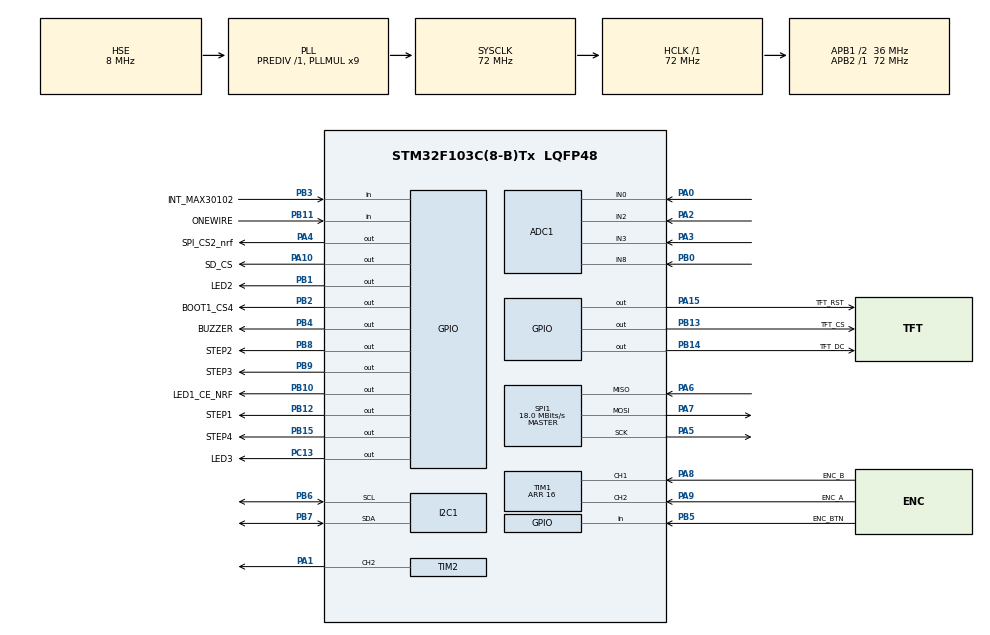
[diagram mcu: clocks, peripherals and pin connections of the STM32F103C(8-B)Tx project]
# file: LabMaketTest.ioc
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ADC1.Channel-0\#ChannelRegularConversion=ADC_CHANNEL_0
ADC1.NbrOfConversionFlag=1
ADC1.Rank-0\#ChannelRegularConversion=1
ADC1.SamplingTime-0\#ChannelRegularConversion=ADC_SAMPLETIME_1CYCLE_5
ADC1.master=1
Dma.Request0=SPI1_TX
Dma.SPI1_TX.0.Direction=DMA_MEMORY_TO_PERIPH
Dma.SPI1_TX.0.Instance=DMA1_Channel3
Dma.SPI1_TX.0.MemDataAlignment=DMA_MDATAALIGN_BYTE
Dma.SPI1_TX.0.MemInc=DMA_MINC_ENABLE
Dma.SPI1_TX.0.Mode=DMA_NORMAL
Dma.SPI1_TX.0.PeriphDataAlignment=DMA_PDATAALIGN_BYTE
Dma.SPI1_TX.0.PeriphInc=DMA_PINC_DISABLE
Dma.SPI1_TX.0.Priority=DMA_PRIORITY_LOW
FATFS._MAX_SS=4096
I2C1.I2C_Mode=I2C_Fast
Mcu.Family=STM32F1
Mcu.Name=STM32F103C(8-B)Tx
Mcu.Package=LQFP48
NVIC.DMA1_Channel3_IRQn=true\:0\:0\:false\:false\:true\:false\:true\:true
NVIC.PriorityGroup=NVIC_PRIORITYGROUP_4
PA0-WKUP.Signal=ADCx_IN0
PA1.Signal=S_TIM2_CH2
PA10.GPIO_Label=SD_CS
PA10.GPIO_PuPd=GPIO_PULLUP
PA10.GPIO_Speed=GPIO_SPEED_FREQ_HIGH
PA10.PinState=GPIO_PIN_SET
PA10.Signal=GPIO_Output
PA13.Mode=Serial_Wire
PA13.Signal=SYS_JTMS-SWDIO
PA14.Mode=Serial_Wire
PA14.Signal=SYS_JTCK-SWCLK
PA15.GPIO_Label=TFT_RST
PA15.Signal=GPIO_Output
PA2.Signal=ADCx_IN2
PA3.Signal=ADCx_IN3
PA4.GPIO_Label=SPI_CS2_nrf
PA4.GPIO_ModeDefaultOutputPP=GPIO_MODE_OUTPUT_PP
PA4.GPIO_PuPd=GPIO_PULLUP
PA4.GPIO_Speed=GPIO_SPEED_FREQ_HIGH
PA4.PinState=GPIO_PIN_SET
PA4.Signal=GPIO_Output
PA5.Mode=Full_Duplex_Master
PA5.Signal=SPI1_SCK
PA6.GPIO_PuPd=GPIO_NOPULL
PA6.Mode=Full_Duplex_Master
PA6.Signal=SPI1_MISO
PA7.Mode=Full_Duplex_Master
PA7.Signal=SPI1_MOSI
PA8.GPIO_Label=ENC_B
PA8.Signal=S_TIM1_CH1
PA9.GPIO_Label=ENC_A
PA9.Signal=S_TIM1_CH2
PB0.Signal=ADCx_IN8
PB1.GPIO_Label=LED2
PB1.Signal=GPIO_Output
PB10.GPIO_Label=LED1_CE_NRF
PB10.GPIO_Speed=GPIO_SPEED_FREQ_HIGH
PB10.Signal=GPIO_Output
PB11.GPIO_Label=ONEWIRE
PB11.Signal=GPIO_Input
PB12.GPIO_Label=STEP1
PB12.PinState=GPIO_PIN_RESET
PB12.Signal=GPIO_Output
PB13.GPIO_Label=TFT_CS
PB13.GPIO_Speed=GPIO_SPEED_FREQ_HIGH
PB13.PinState=GPIO_PIN_SET
PB13.Signal=GPIO_Output
PB14.GPIO_Label=TFT_DC
PB14.GPIO_Speed=GPIO_SPEED_FREQ_HIGH
PB14.PinState=GPIO_PIN_SET
PB14.Signal=GPIO_Output
PB15.GPIO_Label=STEP4
PB15.Signal=GPIO_Output
PB2.GPIO_Label=BOOT1_CS4
PB2.GPIO_Speed=GPIO_SPEED_FREQ_HIGH
PB2.PinState=GPIO_PIN_SET
PB2.Signal=GPIO_Output
PB3.GPIO_Label=INT_MAX30102
PB3.GPIO_PuPd=GPIO_PULLUP
PB3.Signal=GPIO_Input
PB4.GPIO_Label=BUZZER
PB4.Signal=GPIO_Output
PB5.GPIO_Label=ENC_BTN
PB5.GPIO_PuPd=GPIO_PULLUP
PB5.Signal=GPIO_Input
PB6.Mode=I2C
PB6.Signal=I2C1_SCL
PB7.Mode=I2C
PB7.Signal=I2C1_SDA
PB8.GPIO_Label=STEP2
PB8.Signal=GPIO_Output
PB9.GPIO_Label=STEP3
PB9.Signal=GPIO_Output
PC13-TAMPER-RTC.GPIO_Label=LED3
PC13-TAMPER-RTC.PinState=GPIO_PIN_SET
PC13-TAMPER-RTC.Signal=GPIO_Output
PC14-OSC32_IN.Mode=LSE-External-Oscillator
PC14-OSC32_IN.Signal=RCC_OSC32_IN
PC15-OSC32_OUT.Mode=LSE-External-Oscillator
PC15-OSC32_OUT.Signal=RCC_OSC32_OUT
PD0-OSC_IN.Mode=HSE-External-Oscillator
PD0-OSC_IN.Signal=RCC_OSC_IN
PD1-OSC_OUT.Mode=HSE-External-Oscillator
PD1-OSC_OUT.Signal=RCC_OSC_OUT
ProjectManager.HeapSize=0x200
ProjectManager.StackSize=0x400
ProjectManager.TargetToolchain=STM32CubeIDE
RCC.ADCPresc=RCC_ADCPCLK2_DIV6
RCC.AHBFreq_Value=72000000
RCC.APB1CLKDivider=RCC_HCLK_DIV2
RCC.APB1Freq_Value=36000000
RCC.APB1TimFreq_Value=72000000
RCC.APB2Freq_Value=72000000
RCC.APB2TimFreq_Value=72000000
RCC.HCLKFreq_Value=72000000
RCC.PLLMUL=RCC_PLL_MUL9
RCC.PLLSourceVirtual=RCC_PLLSOURCE_HSE
RCC.SYSCLKFreq_VALUE=72000000
RCC.SYSCLKSource=RCC_SYSCLKSOURCE_PLLCLK
RCC.USBFreq_Value=48000000
RCC.USBPrescaler=RCC_USBCLKSOURCE_PLL_DIV1_5
RTC.Format=RTC_FORMAT_BIN
RTC.Year=21
SH.ADCx_IN0.0=ADC1_IN0,IN0
SH.ADCx_IN2.0=ADC1_IN2,IN2
SH.ADCx_IN3.0=ADC1_IN3,IN3
SH.ADCx_IN8.0=ADC1_IN8,IN8
SH.S_TIM1_CH1.0=TIM1_CH1,Encoder_Interface
SH.S_TIM1_CH2.0=TIM1_CH2,Encoder_Interface
SH.S_TIM2_CH2.0=TIM2_CH2,PWM Generation2 CH2
SPI1.BaudRatePrescaler=SPI_BAUDRATEPRESCALER_4
SPI1.CalculateBaudRate=18.0 MBits/s
SPI1.Direction=SPI_DIRECTION_2LINES
SPI1.Mode=SPI_MODE_MASTER
SPI1.VirtualType=VM_MASTER
TIM1.IC1Filter=15
TIM1.IC1Polarity=TIM_ICPOLARITY_RISING
TIM1.IC1Prescaler=TIM_ICPSC_DIV1
TIM1.IC2Filter=15
TIM1.IC2Polarity=TIM_ICPOLARITY_RISING
TIM1.IC2Prescaler=TIM_ICPSC_DIV1
TIM1.Period=16
TIM2.Channel-PWM\ Generation2\ CH2=TIM_CHANNEL_2
TIM2.Period=100
TIM2.Prescaler=1000
TIM2.Pulse-PWM\ Generation2\ CH2=0
VP_FATFS_VS_Generic.Mode=User_defined
VP_RTC_No_RTC_Output.Mode=RTC_OUT_NO
VP_RTC_VS_RTC_Activate.Mode=RTC_Enabled
VP_RTC_VS_RTC_Calendar.Mode=RTC_Calendar
board=custom

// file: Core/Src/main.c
/* USER CODE BEGIN Header */
/**
  ******************************************************************************
  * @file           : main.c
  * @brief          : Main program body
  ******************************************************************************
  * @attention
  *
  * <h2><center>&copy; Copyright (c) 2021 STMicroelectronics.
  * All rights reserved.</center></h2>
  *
  * This software component is licensed by ST under BSD 3-Clause license,
  * the "License"; You may not use this file except in compliance with the
  * License. You may obtain a copy of the License at:
  *                        opensource.org/licenses/BSD-3-Clause
  *
  ******************************************************************************
  */
/* USER CODE END Header */
#include "main.h"
#include "fatfs.h"

/* USER CODE BEGIN Includes */
#include "testimg.h"

/* USER CODE END Includes */

ADC_HandleTypeDef hadc1;

I2C_HandleTypeDef hi2c1;

RTC_HandleTypeDef hrtc;

SPI_HandleTypeDef hspi1;
DMA_HandleTypeDef hdma_spi1_tx;

TIM_HandleTypeDef htim1;
TIM_HandleTypeDef htim2;

/* USER CODE BEGIN PV */
RTC_TimeTypeDef RtcTime;
RTC_DateTypeDef RtcDate;

uint8_t r = 0;
char buf[64];
int EncVal=0;
const char *menu_main_text[NUM_MENU_MAIN]={"0.Test TFT st7735",
										   "1.Test analog sensor",
										   "2.Test key & leds",
										   "3.Test RTC stm32",
										   "4.Test ds18b20",
										   "5.Test I2C bus >>",
										   "6.Test motor&ACS70331",
										   "7.Test SD card",
										   "8.Test nrf24l01",
										   "9.Test SPI flash",
										   "a.Test fake stm chip"};

uint8_t menu_main = 0;
uint8_t menu_i2c = 0;
mMenu myMenu;   // текущее мению
/* USER CODE END PV */

void SystemClock_Config(void);
static void MX_GPIO_Init(void);
static void MX_DMA_Init(void);
static void MX_SPI1_Init(void);
static void MX_ADC1_Init(void);
static void MX_RTC_Init(void);
static void MX_TIM1_Init(void);
static void MX_TIM2_Init(void);
static void MX_I2C1_Init(void);
/* USER CODE BEGIN PFP */
extern void start_screen(void);
extern void beep(uint16_t t);
extern void beep_enc(void);
extern void menu_i2c_screen(void);
extern void test_TFT(void);
extern void test_ADC(void);
extern void test_keyADC_LEDS(void);
extern void test_RTC(void);
extern void test_ds18b20(void);
extern void scan_i2c(void);
extern void test_VL53L0x(void);
extern void test_max30102(void);
extern void test_hmc5883l(void);
extern void test_SD(void);
extern void test_nrf24(void);
extern void test_SPI_flash(void);
void test_Stepper(void);
/* USER CODE END PFP */

/* USER CODE BEGIN 0 */
uint32_t CalculateDayNumber(uint8_t Date, uint8_t Month, uint8_t Year)
{
	// Format:
	// DD.MM.YY
	uint32_t _Year = Year + 20;
	Month = (Month + 9) % 12;
	_Year = _Year - (Month / 10);
	return ((365 * _Year) + (_Year / 4) - (_Year / 100) + (_Year / 400) + (((Month * 306) + 5) / 10) + (Date - 1));
}

void CalculateDateFromDayNumber(uint32_t DayNumber, uint8_t *Date, uint8_t *Month, uint8_t *Year)
{
	uint32_t _Date, _Month, _Year;
	_Year = ((10000 * DayNumber) + 14780) / 3652425;
	int32_t ddd = DayNumber - ((365 * _Year) + (_Year / 4) - (_Year / 100) + (_Year / 400));
	if (ddd < 0)
	{
		_Year -= 1;
		ddd = DayNumber - ((365 * _Year) + (_Year / 4) - (_Year / 100) + (_Year / 400));
	}
	int32_t mi = ((100 * ddd) + 52) / 3060;
	_Month = (mi + 2) % 12 + 1;
	_Year = _Year + (mi + 2)/12;
	_Date = ddd - ((mi * 306) + 5)/10 + 1;
	*Date = _Date;
	*Month = _Month;
	*Year = _Year - 20;
}
/* USER CODE END 0 */

int main(void)
{
  /* USER CODE BEGIN 1 */
uint8_t old_menu = menu_main;  // Старая позиция меню
  /* USER CODE END 1 */

  /* MCU Configuration--------------------------------------------------------*/

  /* Reset of all peripherals, Initializes the Flash interface and the Systick. */
  HAL_Init();

  /* Configure the system clock */
  SystemClock_Config();

  /* Initialize all configured peripherals */
  MX_GPIO_Init();
  MX_DMA_Init();
  MX_SPI1_Init();
  MX_ADC1_Init();
  MX_RTC_Init();
  MX_FATFS_Init();
  MX_TIM1_Init();
  MX_TIM2_Init();
  MX_I2C1_Init();
  /* USER CODE BEGIN 2 */

  ST7735_Init();          // Не забываем в кубе настроить DMA
 // ST7735_Backlight_On(); // Включить подсветку дисплея
  ST7735_SetRotation(3);
  ST7735_FillScreen(ST7735_WHITE);
  ST7735_DrawImage(0, 10, 160, 58, (const uint16_t*) stm32logo); // вывести заставку
  ST7735_DrawString(0, 108, "Hardware version:", Font_7x10, ST7735_RED, ST7735_WHITE);
  ST7735_DrawString(130, 108, HARDWARE, Font_7x10, ST7735_RED, ST7735_WHITE);

  ST7735_DrawString(0, 118, "Test prog version:", Font_7x10, ST7735_RED, ST7735_WHITE);
  ST7735_DrawString(130, 118, VERSION, Font_7x10, ST7735_RED, ST7735_WHITE);
  beep(200);
  HAL_TIM_PWM_Start(&htim2, TIM_CHANNEL_2); // Включить ШИМ на подсветку дисплея
  for (uint8_t i=0;i<100;i++){
	  ST7735_Backlight(i);                  // Установить ярокость
	  HAL_Delay(20);
  }
// test_VL53L0x();
// test_at24c128();
  HAL_ADCEx_Calibration_Start(&hadc1);  // Калибровка ацп
  /* USER CODE END 2 */

  /* Infinite loop */
  /* USER CODE BEGIN WHILE */
 // HAL_GPIO_WritePin(GPIOB, LED2_Pin, GPIO_PIN_SET);    // Установить светодиод 2 в 1
  HAL_GPIO_WritePin(LED1_CE_NRF_GPIO_Port, LED1_CE_NRF_Pin, GPIO_PIN_RESET);    // Установить светодиод 1 в 0
 // HAL_GPIO_WritePin(GPIOA, TFT_LED_Pin, GPIO_PIN_SET); // Включить подсветку дисплея

  start_screen();
  TIM1->ARR = (NUM_MENU_MAIN-1)*2+1; // Установить максимальное значение энкодера в ДВА раза больше чем пунктов меню (срабатываение на один щелчек энкодера)
  TIM1->CNT = 0; // нулевой пункт меню
  HAL_TIM_Encoder_Start(&htim1, TIM_CHANNEL_ALL); // Включить энкодер

  HAL_NVIC_EnableIRQ(EXTI9_5_IRQn);
 // myMenu=mMain;    // текущее меню - главное
  while (1)
  {
	  HAL_GPIO_TogglePin(LED1_CE_NRF_GPIO_Port, LED1_CE_NRF_Pin); // Инвертирование состояния выхода.
	  HAL_Delay(50);                       // Пауза 50 миллисекунд.

	 menu_main = __HAL_TIM_GET_COUNTER(&htim1)/2;  // Прочитать значение энкодера

     if(old_menu!=menu_main) // Надо перерисовать пункт меню
     {
 //	  itoa(menu_main+1,buf,16);
 //	  ST7735_DrawString(150, 1, buf, Font_7x10, ST7735_RED, ST7735_BLUE); // текущий атом меню
    	// Старое меню восстанавливаем
   	  ST7735_FillRectangle(0, 2+(old_menu+1)*STR_H, 160-1,STR_H, ST7735_BLACK);
      ST7735_DrawString(0, 2+(old_menu+1)*STR_H,menu_main_text[old_menu], Font_7x10, ST7735_WHITE, ST7735_BLACK);
    	// Новое рисуем
   	  ST7735_FillRectangle(0, 2+(menu_main+1)*STR_H, 160-1,STR_H, ST7735_WHITE);
      ST7735_DrawString(0, 2+(menu_main+1)*STR_H,menu_main_text[menu_main], Font_7x10, ST7735_BLUE, ST7735_WHITE);
      old_menu=menu_main;
      beep_enc();
     }
     // Нажата кнопка
     if (HAL_GPIO_ReadPin(GPIOB, ENC_BTN_Pin) == 1) {
    	 beep_enc();
    	 switch (menu_main){
    		case 0: test_TFT();start_screen(); break;
    		case 1: test_ADC();start_screen(); break;
    		case 2: test_keyADC_LEDS();start_screen(); break;
      		case 3: test_RTC();start_screen(); break;
      		case 4: test_ds18b20();start_screen(); break;
      		case 5: menu_i2c_screen();TIM1->CNT=5*2; start_screen(); break; // Подменю, с возвратом на ту же позицию
      		case 6: test_Stepper();start_screen(); break;
    		case 7: test_SD();start_screen(); break;
    		case 8: test_nrf24();start_screen(); break;
    		case 9: test_SPI_flash();start_screen(); break;
    		case 10: test_fake_stm32();start_screen(); break;
      		default: break;

    	}
     }

    /* USER CODE END WHILE */

  }
}

void SystemClock_Config(void)
{
  RCC_OscInitTypeDef RCC_OscInitStruct = {0};
  RCC_ClkInitTypeDef RCC_ClkInitStruct = {0};
  RCC_PeriphCLKInitTypeDef PeriphClkInit = {0};

  /** Initializes the RCC Oscillators according to the specified parameters
  * in the RCC_OscInitTypeDef structure.
  */
  RCC_OscInitStruct.OscillatorType = RCC_OSCILLATORTYPE_LSI|RCC_OSCILLATORTYPE_HSE;
  RCC_OscInitStruct.HSEState = RCC_HSE_ON;
  RCC_OscInitStruct.HSEPredivValue = RCC_HSE_PREDIV_DIV1;
  RCC_OscInitStruct.HSIState = RCC_HSI_ON;
  RCC_OscInitStruct.LSIState = RCC_LSI_ON;
  RCC_OscInitStruct.PLL.PLLState = RCC_PLL_ON;
  RCC_OscInitStruct.PLL.PLLSource = RCC_PLLSOURCE_HSE;
  RCC_OscInitStruct.PLL.PLLMUL = RCC_PLL_MUL9;
  if (HAL_RCC_OscConfig(&RCC_OscInitStruct) != HAL_OK)
  {
    Error_Handler();
  }
  /** Initializes the CPU, AHB and APB buses clocks
  */
  RCC_ClkInitStruct.ClockType = RCC_CLOCKTYPE_HCLK|RCC_CLOCKTYPE_SYSCLK
                              |RCC_CLOCKTYPE_PCLK1|RCC_CLOCKTYPE_PCLK2;
  RCC_ClkInitStruct.SYSCLKSource = RCC_SYSCLKSOURCE_PLLCLK;
  RCC_ClkInitStruct.AHBCLKDivider = RCC_SYSCLK_DIV1;
  RCC_ClkInitStruct.APB1CLKDivider = RCC_HCLK_DIV2;
  RCC_ClkInitStruct.APB2CLKDivider = RCC_HCLK_DIV1;

  if (HAL_RCC_ClockConfig(&RCC_ClkInitStruct, FLASH_LATENCY_2) != HAL_OK)
  {
    Error_Handler();
  }
  PeriphClkInit.PeriphClockSelection = RCC_PERIPHCLK_RTC|RCC_PERIPHCLK_ADC;
  PeriphClkInit.RTCClockSelection = RCC_RTCCLKSOURCE_LSI;
  PeriphClkInit.AdcClockSelection = RCC_ADCPCLK2_DIV6;
  if (HAL_RCCEx_PeriphCLKConfig(&PeriphClkInit) != HAL_OK)
  {
    Error_Handler();
  }
}

static void MX_ADC1_Init(void)
{

  ADC_ChannelConfTypeDef sConfig = {0};

  /** Common config
  */
  hadc1.Instance = ADC1;
  hadc1.Init.ScanConvMode = ADC_SCAN_DISABLE;
  hadc1.Init.ContinuousConvMode = DISABLE;
  hadc1.Init.DiscontinuousConvMode = DISABLE;
  hadc1.Init.ExternalTrigConv = ADC_SOFTWARE_START;
  hadc1.Init.DataAlign = ADC_DATAALIGN_RIGHT;
  hadc1.Init.NbrOfConversion = 1;
  if (HAL_ADC_Init(&hadc1) != HAL_OK)
  {
    Error_Handler();
  }
  /** Configure Regular Channel
  */
  sConfig.Channel = ADC_CHANNEL_0;
  sConfig.Rank = ADC_REGULAR_RANK_1;
  sConfig.SamplingTime = ADC_SAMPLETIME_1CYCLE_5;
  if (HAL_ADC_ConfigChannel(&hadc1, &sConfig) != HAL_OK)
  {
    Error_Handler();
  }

}

static void MX_I2C1_Init(void)
{

  hi2c1.Instance = I2C1;
  hi2c1.Init.ClockSpeed = 400000;
  hi2c1.Init.DutyCycle = I2C_DUTYCYCLE_2;
  hi2c1.Init.OwnAddress1 = 0;
  hi2c1.Init.AddressingMode = I2C_ADDRESSINGMODE_7BIT;
  hi2c1.Init.DualAddressMode = I2C_DUALADDRESS_DISABLE;
  hi2c1.Init.OwnAddress2 = 0;
  hi2c1.Init.GeneralCallMode = I2C_GENERALCALL_DISABLE;
  hi2c1.Init.NoStretchMode = I2C_NOSTRETCH_DISABLE;
  if (HAL_I2C_Init(&hi2c1) != HAL_OK)
  {
    Error_Handler();
  }

}

static void MX_RTC_Init(void)
{

  RTC_TimeTypeDef sTime = {0};
  RTC_DateTypeDef DateToUpdate = {0};

  /** Initialize RTC Only
  */
  hrtc.Instance = RTC;
  hrtc.Init.AsynchPrediv = RTC_AUTO_1_SECOND;
  hrtc.Init.OutPut = RTC_OUTPUTSOURCE_NONE;
  if (HAL_RTC_Init(&hrtc) != HAL_OK)
  {
    Error_Handler();
  }

  /* USER CODE BEGIN Check_RTC_BKUP */
   RTC_DateTypeDef BackupDate;

     HAL_PWR_EnableBkUpAccess();
      /* Enable BKP CLK enable for backup registers */
      __HAL_RCC_BKP_CLK_ENABLE();
      /* RTC clock enable */
      __HAL_RCC_RTC_ENABLE();

   RtcDate.Date = (HAL_RTCEx_BKUPRead(&hrtc, RTC_BKP_DR2) >> 8);
   RtcDate.Month = HAL_RTCEx_BKUPRead(&hrtc, RTC_BKP_DR2);
   RtcDate.Year = (HAL_RTCEx_BKUPRead(&hrtc, RTC_BKP_DR3) >> 8);
   RtcDate.WeekDay = HAL_RTCEx_BKUPRead(&hrtc, RTC_BKP_DR3);

   HAL_RTC_GetTime(&hrtc, &RtcTime, RTC_FORMAT_BIN); // There is also an internal date update based on HW RTC time elapsed!!
   HAL_RTC_GetDate(&hrtc, &BackupDate, RTC_FORMAT_BIN); // Days elapsed since MCU power down

   uint32_t BackupDateDays = CalculateDayNumber(BackupDate.Date, BackupDate.Month, BackupDate.Year);
   uint32_t RtcDateDays = CalculateDayNumber(RtcDate.Date, RtcDate.Month, RtcDate.Year);

   RtcDateDays += (BackupDateDays - CalculateDayNumber(1, 1, 0));

   CalculateDateFromDayNumber(RtcDateDays, &RtcDate.Date, &RtcDate.Month, &RtcDate.Year);

   HAL_RTC_SetDate(&hrtc, &RtcDate, RTC_FORMAT_BIN);

   //
   //	You have to do not let Init code to reinitialize Time and Date in RTC.
   //	It's "a bug" in HAL widely described and complain on forums.
   //	That causes every MCU restart the time and date will be same as you configured in CubeMX.
   //	All you have to do is just return before init time/date in this user section.
   //

   return;  // Для того что бы дата кажды раз не выставлялась
  /* USER CODE END Check_RTC_BKUP */

  /** Initialize RTC and set the Time and Date
  */
  sTime.Hours = 0;
  sTime.Minutes = 0;
  sTime.Seconds = 0;

  if (HAL_RTC_SetTime(&hrtc, &sTime, RTC_FORMAT_BIN) != HAL_OK)
  {
    Error_Handler();
  }
  DateToUpdate.WeekDay = RTC_WEEKDAY_MONDAY;
  DateToUpdate.Month = RTC_MONTH_JANUARY;
  DateToUpdate.Date = 1;
  DateToUpdate.Year = 21;

  if (HAL_RTC_SetDate(&hrtc, &DateToUpdate, RTC_FORMAT_BIN) != HAL_OK)
  {
    Error_Handler();
  }

}

static void MX_SPI1_Init(void)
{

  /* SPI1 parameter configuration*/
  hspi1.Instance = SPI1;
  hspi1.Init.Mode = SPI_MODE_MASTER;
  hspi1.Init.Direction = SPI_DIRECTION_2LINES;
  hspi1.Init.DataSize = SPI_DATASIZE_8BIT;
  hspi1.Init.CLKPolarity = SPI_POLARITY_LOW;
  hspi1.Init.CLKPhase = SPI_PHASE_1EDGE;
  hspi1.Init.NSS = SPI_NSS_SOFT;
  hspi1.Init.BaudRatePrescaler = SPI_BAUDRATEPRESCALER_4;
  hspi1.Init.FirstBit = SPI_FIRSTBIT_MSB;
  hspi1.Init.TIMode = SPI_TIMODE_DISABLE;
  hspi1.Init.CRCCalculation = SPI_CRCCALCULATION_DISABLE;
  hspi1.Init.CRCPolynomial = 10;
  if (HAL_SPI_Init(&hspi1) != HAL_OK)
  {
    Error_Handler();
  }

}

static void MX_TIM1_Init(void)
{

  TIM_Encoder_InitTypeDef sConfig = {0};
  TIM_MasterConfigTypeDef sMasterConfig = {0};

  htim1.Instance = TIM1;
  htim1.Init.Prescaler = 0;
  htim1.Init.CounterMode = TIM_COUNTERMODE_UP;
  htim1.Init.Period = 16;
  htim1.Init.ClockDivision = TIM_CLOCKDIVISION_DIV1;
  htim1.Init.RepetitionCounter = 0;
  htim1.Init.AutoReloadPreload = TIM_AUTORELOAD_PRELOAD_DISABLE;
  sConfig.EncoderMode = TIM_ENCODERMODE_TI1;
  sConfig.IC1Polarity = TIM_ICPOLARITY_RISING;
  sConfig.IC1Selection = TIM_ICSELECTION_DIRECTTI;
  sConfig.IC1Prescaler = TIM_ICPSC_DIV1;
  sConfig.IC1Filter = 15;
  sConfig.IC2Polarity = TIM_ICPOLARITY_RISING;
  sConfig.IC2Selection = TIM_ICSELECTION_DIRECTTI;
  sConfig.IC2Prescaler = TIM_ICPSC_DIV1;
  sConfig.IC2Filter = 15;
  if (HAL_TIM_Encoder_Init(&htim1, &sConfig) != HAL_OK)
  {
    Error_Handler();
  }
  sMasterConfig.MasterOutputTrigger = TIM_TRGO_RESET;
  sMasterConfig.MasterSlaveMode = TIM_MASTERSLAVEMODE_DISABLE;
  if (HAL_TIMEx_MasterConfigSynchronization(&htim1, &sMasterConfig) != HAL_OK)
  {
    Error_Handler();
  }

}

static void MX_TIM2_Init(void)
{

  TIM_MasterConfigTypeDef sMasterConfig = {0};
  TIM_OC_InitTypeDef sConfigOC = {0};

  htim2.Instance = TIM2;
  htim2.Init.Prescaler = 1000;
  htim2.Init.CounterMode = TIM_COUNTERMODE_UP;
  htim2.Init.Period = 100;
  htim2.Init.ClockDivision = TIM_CLOCKDIVISION_DIV1;
  htim2.Init.AutoReloadPreload = TIM_AUTORELOAD_PRELOAD_DISABLE;
  if (HAL_TIM_PWM_Init(&htim2) != HAL_OK)
  {
    Error_Handler();
  }
  sMasterConfig.MasterOutputTrigger = TIM_TRGO_RESET;
  sMasterConfig.MasterSlaveMode = TIM_MASTERSLAVEMODE_DISABLE;
  if (HAL_TIMEx_MasterConfigSynchronization(&htim2, &sMasterConfig) != HAL_OK)
  {
    Error_Handler();
  }
  sConfigOC.OCMode = TIM_OCMODE_PWM1;
  sConfigOC.Pulse = 0;
  sConfigOC.OCPolarity = TIM_OCPOLARITY_HIGH;
  sConfigOC.OCFastMode = TIM_OCFAST_DISABLE;
  if (HAL_TIM_PWM_ConfigChannel(&htim2, &sConfigOC, TIM_CHANNEL_2) != HAL_OK)
  {
    Error_Handler();
  }
  HAL_TIM_MspPostInit(&htim2);

}

static void MX_DMA_Init(void)
{

  /* DMA controller clock enable */
  __HAL_RCC_DMA1_CLK_ENABLE();

  /* DMA interrupt init */
  /* DMA1_Channel3_IRQn interrupt configuration */
  HAL_NVIC_SetPriority(DMA1_Channel3_IRQn, 0, 0);
  HAL_NVIC_EnableIRQ(DMA1_Channel3_IRQn);

}

static void MX_GPIO_Init(void)
{
  GPIO_InitTypeDef GPIO_InitStruct = {0};

  /* GPIO Ports Clock Enable */
  __HAL_RCC_GPIOC_CLK_ENABLE();
  __HAL_RCC_GPIOD_CLK_ENABLE();
  __HAL_RCC_GPIOA_CLK_ENABLE();
  __HAL_RCC_GPIOB_CLK_ENABLE();

  /*Configure GPIO pin Output Level */
  HAL_GPIO_WritePin(LED3_GPIO_Port, LED3_Pin, GPIO_PIN_SET);

  /*Configure GPIO pin Output Level */
  HAL_GPIO_WritePin(GPIOA, SPI_CS2_nrf_Pin|SD_CS_Pin, GPIO_PIN_SET);

  /*Configure GPIO pin Output Level */
  HAL_GPIO_WritePin(GPIOB, LED2_Pin|LED1_CE_NRF_Pin|STEP1_Pin|STEP4_Pin
                          |BUZZER_Pin|STEP2_Pin|STEP3_Pin, GPIO_PIN_RESET);

  /*Configure GPIO pin Output Level */
  HAL_GPIO_WritePin(GPIOB, BOOT1_CS4_Pin|TFT_CS_Pin|TFT_DC_Pin, GPIO_PIN_SET);

  /*Configure GPIO pin Output Level */
  HAL_GPIO_WritePin(TFT_RST_GPIO_Port, TFT_RST_Pin, GPIO_PIN_RESET);

  /*Configure GPIO pin : LED3_Pin */
  GPIO_InitStruct.Pin = LED3_Pin;
  GPIO_InitStruct.Mode = GPIO_MODE_OUTPUT_PP;
  GPIO_InitStruct.Pull = GPIO_NOPULL;
  GPIO_InitStruct.Speed = GPIO_SPEED_FREQ_LOW;
  HAL_GPIO_Init(LED3_GPIO_Port, &GPIO_InitStruct);

  /*Configure GPIO pins : SPI_CS2_nrf_Pin SD_CS_Pin */
  GPIO_InitStruct.Pin = SPI_CS2_nrf_Pin|SD_CS_Pin;
  GPIO_InitStruct.Mode = GPIO_MODE_OUTPUT_PP;
  GPIO_InitStruct.Pull = GPIO_PULLUP;
  GPIO_InitStruct.Speed = GPIO_SPEED_FREQ_HIGH;
  HAL_GPIO_Init(GPIOA, &GPIO_InitStruct);

  /*Configure GPIO pins : LED2_Pin STEP1_Pin STEP4_Pin BUZZER_Pin
                           STEP2_Pin STEP3_Pin */
  GPIO_InitStruct.Pin = LED2_Pin|STEP1_Pin|STEP4_Pin|BUZZER_Pin
                          |STEP2_Pin|STEP3_Pin;
  GPIO_InitStruct.Mode = GPIO_MODE_OUTPUT_PP;
  GPIO_InitStruct.Pull = GPIO_NOPULL;
  GPIO_InitStruct.Speed = GPIO_SPEED_FREQ_LOW;
  HAL_GPIO_Init(GPIOB, &GPIO_InitStruct);

  /*Configure GPIO pins : BOOT1_CS4_Pin LED1_CE_NRF_Pin TFT_CS_Pin TFT_DC_Pin */
  GPIO_InitStruct.Pin = BOOT1_CS4_Pin|LED1_CE_NRF_Pin|TFT_CS_Pin|TFT_DC_Pin;
  GPIO_InitStruct.Mode = GPIO_MODE_OUTPUT_PP;
  GPIO_InitStruct.Pull = GPIO_NOPULL;
  GPIO_InitStruct.Speed = GPIO_SPEED_FREQ_HIGH;
  HAL_GPIO_Init(GPIOB, &GPIO_InitStruct);

  /*Configure GPIO pin : ONEWIRE_Pin */
  GPIO_InitStruct.Pin = ONEWIRE_Pin;
  GPIO_InitStruct.Mode = GPIO_MODE_INPUT;
  GPIO_InitStruct.Pull = GPIO_NOPULL;
  HAL_GPIO_Init(ONEWIRE_GPIO_Port, &GPIO_InitStruct);

  /*Configure GPIO pin : TFT_RST_Pin */
  GPIO_InitStruct.Pin = TFT_RST_Pin;
  GPIO_InitStruct.Mode = GPIO_MODE_OUTPUT_PP;
  GPIO_InitStruct.Pull = GPIO_NOPULL;
  GPIO_InitStruct.Speed = GPIO_SPEED_FREQ_LOW;
  HAL_GPIO_Init(TFT_RST_GPIO_Port, &GPIO_InitStruct);

  /*Configure GPIO pins : INT_MAX30102_Pin ENC_BTN_Pin */
  GPIO_InitStruct.Pin = INT_MAX30102_Pin|ENC_BTN_Pin;
  GPIO_InitStruct.Mode = GPIO_MODE_INPUT;
  GPIO_InitStruct.Pull = GPIO_PULLUP;
  HAL_GPIO_Init(GPIOB, &GPIO_InitStruct);

}

/* USER CODE BEGIN 4 */
/*
// Прерывание от энкодера
static uint32_t tick_encoder=0;
#define ENC_BOUNCE   10  // Дребезг энкодера
void HAL_GPIO_EXTI_Callback(uint16_t GPIO_Pin)
{

  if(GPIO_Pin == ENC_B_Pin) {  // Нужное прерываение от нужной ножки
      HAL_GPIO_TogglePin(GPIOB, LED2_Pin); // Инвертирование состояния выхода.
      if((HAL_GetTick()-tick_encoder>ENC_BOUNCE)&&(HAL_GPIO_ReadPin(GPIOB, ENC_B_Pin) == 0)) {// С прошедшего прерываения прошло более 20 мс - это не дребезг
      tick_encoder=HAL_GetTick();
        switch (myMenu){
   		case mMain:// {
   		    if ((HAL_GPIO_ReadPin(GPIOB, ENC_A_Pin) == 1)&&(HAL_GPIO_ReadPin(GPIOB, ENC_A_Pin) == 1)) { // Кто-то крутит ручку по часовой стрелке
   		    	HAL_Delay(1);   if (HAL_GPIO_ReadPin(GPIOB, ENC_A_Pin) == 1)
   		              if(menu_main <  NUM_MENU_MAIN-1) menu_main++; }
   		      else if ((HAL_GPIO_ReadPin(GPIOB, ENC_A_Pin) == 0)&&(HAL_GPIO_ReadPin(GPIOB, ENC_A_Pin) == 0)) { // Ручку крутят против часовой стрелки
   		    	HAL_Delay(1);   if (HAL_GPIO_ReadPin(GPIOB, ENC_A_Pin) == 0)
   		                  if(menu_main > 0) menu_main--; }

   			break;

   		case mI2C: // {
   		    if ((HAL_GPIO_ReadPin(GPIOB, ENC_A_Pin) == 1)&&(HAL_GPIO_ReadPin(GPIOB, ENC_A_Pin) == 1)) { // Кто-то крутит ручку по часовой стрелке
 		    	HAL_Delay(1);   if (HAL_GPIO_ReadPin(GPIOB, ENC_A_Pin) == 1)
     		    	if(menu_i2c <  NUM_MENU_I2C-1) menu_i2c++; }
   		      else if ((HAL_GPIO_ReadPin(GPIOB, ENC_A_Pin) == 0)&&(HAL_GPIO_ReadPin(GPIOB, ENC_A_Pin) == 0)) { // Ручку крутят против часовой стрелки
   		    	HAL_Delay(1);   if (HAL_GPIO_ReadPin(GPIOB, ENC_A_Pin) == 1)
       	    	  if(menu_i2c > 0) menu_i2c--; }
     		break;

      }

  } else{
   __NOP();
  } }
  __HAL_PWR_CLEAR_FLAG(PWR_FLAG_WU);
}
*/
/* USER CODE END 4 */

void Error_Handler(void)
{
  __disable_irq();
  while (1)
  {
  }
}

/************************ (C) COPYRIGHT STMicroelectronics *****END OF FILE****/
